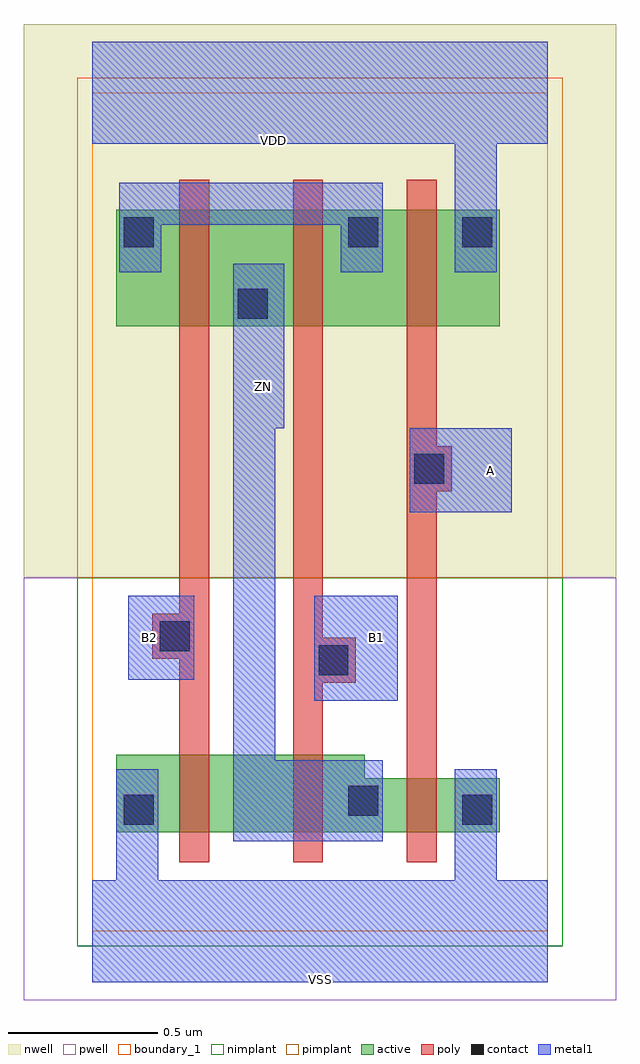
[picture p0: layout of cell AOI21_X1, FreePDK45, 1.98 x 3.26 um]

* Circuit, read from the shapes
.subckt AOI21_X1 A B1 B2 VDD VSS ZN
M1 n1 B2 VSS VSUBS nfet w=0.26u l=0.1u
M2 ZN B1 n1 VSUBS nfet w=0.26u l=0.1u
M3 VSS A ZN VSUBS nfet w=0.18u l=0.1u
M4 ZN B2 n2 n3 pfet w=0.39u l=0.1u
M5 n2 B1 ZN n3 pfet w=0.39u l=0.1u
M6 VDD A n2 n3 pfet w=0.39u l=0.1u
.ends

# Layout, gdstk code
import gdstk
lib = gdstk.Library(unit=1e-6, precision=1e-09)
def R(c, l, rs):  # rectangles x0, y0, x1, y1
    for r in rs: c.add(gdstk.rectangle(r[:2], r[2:], *l))
def P(c, l, *ps):  # polygons
    for p in ps: c.add(gdstk.Polygon(p, *l))
active = (1, 0)
pwell = (2, 0)
nwell = (3, 0)
nimplant = (4, 0)
pimplant = (5, 0)
poly = (9, 0)
contact = (10, 0)
metal1 = (11, 0)
boundary_1 = (235, 1)

aoi21_x1 = lib.new_cell('AOI21_X1')
R(aoi21_x1, active, [(0.08,2.02,1.36,2.41)])
P(aoi21_x1, active, [(0.08,0.33),(1.36,0.33),(1.36,0.51),(0.91,0.51),(0.91,0.59),(0.08,0.59)])
R(aoi21_x1, pwell, [(-0.23,-0.23,1.75,1.18)])
R(aoi21_x1, nwell, [(-0.23,1.18,1.75,3.03)])
R(aoi21_x1, nimplant, [(-0.05,-0.05,1.57,1.18)])
R(aoi21_x1, pimplant, [(-0.05,1.18,1.57,2.85)])
P(aoi21_x1, poly, [(1.05,0.23),(1.15,0.23),(1.15,1.47),(1.2,1.47),(1.2,1.62),(1.15,1.62),(1.15,2.51),(1.05,2.51)],
  [(0.67,0.23),(0.77,0.23),(0.77,0.83),(0.88,0.83),(0.88,0.98),(0.77,0.98),(0.77,2.51),(0.67,2.51)],
  [(0.2,0.91),(0.29,0.91),(0.29,0.23),(0.39,0.23),(0.39,2.51),(0.29,2.51),(0.29,1.06),(0.2,1.06)])
R(aoi21_x1, contact, [(0.105,0.355,0.205,0.455), (1.235,0.355,1.335,0.455), (0.855,0.385,0.955,0.485), (0.755,0.855,0.855,0.955), (0.225,0.935,0.325,1.035), (1.075,1.495,1.175,1.595), (0.485,2.045,0.585,2.145), (0.105,2.285,0.205,2.385), (0.855,2.285,0.955,2.385), (1.235,2.285,1.335,2.385)])
R(aoi21_x1, metal1, [(0.74,0.77,1.02,1.12), (0.74,0.77,1.02,1.12), (0.12,0.84,0.34,1.12), (0.12,0.84,0.34,1.12), (1.06,1.4,1.4,1.68), (1.06,1.4,1.4,1.68)])
P(aoi21_x1, metal1, [(0.47,0.3),(0.97,0.3),(0.97,0.57),(0.61,0.57),(0.61,1.68),(0.64,1.68),(0.64,2.23),(0.47,2.23)],
  [(0,-0.17),(1.52,-0.17),(1.52,0.17),(1.35,0.17),(1.35,0.54),(1.21,0.54),(1.21,0.17),(0.22,0.17),(0.22,0.54),(0.08,0.54),(0.08,0.17),(0,0.17)],
  [(0,2.63),(1.21,2.63),(1.21,2.2),(1.35,2.2),(1.35,2.63),(1.52,2.63),(1.52,2.97),(0,2.97)],
  [(0,2.63),(1.21,2.63),(1.21,2.2),(1.35,2.2),(1.35,2.63),(1.52,2.63),(1.52,2.97),(0,2.97)],
  [(0,-0.17),(1.52,-0.17),(1.52,0.17),(1.35,0.17),(1.35,0.54),(1.21,0.54),(1.21,0.17),(0.22,0.17),(0.22,0.54),(0.08,0.54),(0.08,0.17),(0,0.17)],
  [(0.09,2.2),(0.23,2.2),(0.23,2.36),(0.83,2.36),(0.83,2.2),(0.97,2.2),(0.97,2.5),(0.09,2.5)],
  [(0.47,0.3),(0.97,0.3),(0.97,0.57),(0.61,0.57),(0.61,1.68),(0.64,1.68),(0.64,2.23),(0.47,2.23)])
R(aoi21_x1, boundary_1, [(0,0,1.52,2.8)])
aoi21_x1.add(gdstk.Label('ZN', (0.57,1.82), layer=11, texttype=0))
aoi21_x1.add(gdstk.Label('VSS', (0.76,-0.16), layer=11, texttype=0))
aoi21_x1.add(gdstk.Label('VDD', (0.605,2.64), layer=11, texttype=0))
aoi21_x1.add(gdstk.Label('B2', (0.19,0.98), layer=11, texttype=0))
aoi21_x1.add(gdstk.Label('B1', (0.95,0.98), layer=11, texttype=0))
aoi21_x1.add(gdstk.Label('A', (1.33,1.54), layer=11, texttype=0))

lib.write_gds('AOI21_X1.gds')
